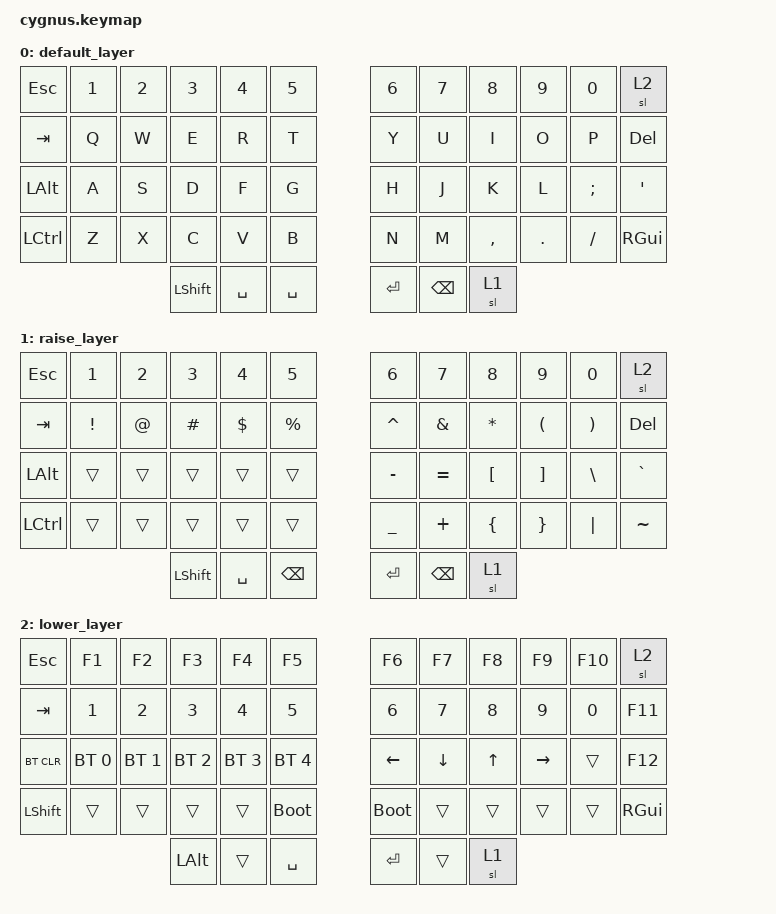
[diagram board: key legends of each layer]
#include <behaviors.dtsi>
#include <dt-bindings/zmk/bt.h>
#include <dt-bindings/zmk/keys.h>

/ {
    keymap {
        compatible = "zmk,keymap";

        default_layer {
            // -----------------------------------------------------------------------------------------
            // |  ESC |  1  |  2  |  3  |  4  |  5  |   |  6  |  7   |  8  |  9  |  0  |  ?   |
            // |  TAB |  Q  |  W  |  E  |  R  |  T  |   |  Y  |  U   |  I  |  O  |  P  | BKSP |
            // | CTRL |  A  |  S  |  D  |  F  |  G  |   |  H  |  J   |  K  |  L  |  ;  |  '   |
            // | SHFT |  Z  |  X  |  C  |  V  |  B  |   |  N  |  M   |  ,  |  .  |  /  | ESC  |
            //                    | GUI | LWR | SPC |   | ENT | RSE  | ALT |

            bindings = <
&kp ESC       &kp N1  &kp N2  &kp N3          &kp N4     &kp N5       &kp N6   &kp N7         &kp N8     &kp N9   &kp N0    &sl 2
&kp TAB       &kp Q   &kp W   &kp E           &kp R      &kp T        &kp Y    &kp U          &kp I      &kp O    &kp P     &kp DELETE
&kp LEFT_ALT  &kp A   &kp S   &kp D           &kp F      &kp G        &kp H    &kp J          &kp K      &kp L    &kp SEMI  &kp SQT
&kp LCTRL     &kp Z   &kp X   &kp C           &kp V      &kp B        &kp N    &kp M          &kp COMMA  &kp DOT  &kp FSLH  &kp RGUI
                              &kp LEFT_SHIFT  &kp SPACE  &kp SPACE    &kp RET  &kp BACKSPACE  &sl 1
            >;
        };

        raise_layer {
            // -----------------------------------------------------------------------------------------
            // |  TAB |  !  |  @  |  #  |  $  |  %  |   |  ^  |  &  |  *  |  (  |  )  | BKSP |
            // | CTRL |     |     |     |     |     |   |  -  |  =  |  [  |  ]  |  \  |  `   |
            // | SHFT |     |     |     |     |     |   |  _  |  +  |  {  |  }  | "|" |  ~   |
            //                    | GUI |     | SPC |   | ENT |     | ALT |

            bindings = <
&kp ESC           &kp N1    &kp N2  &kp N3          &kp N4     &kp N5           &kp N6     &kp N7         &kp N8     &kp N9    &kp N0    &sl 2
&kp TAB           &kp EXCL  &kp AT  &kp HASH        &kp DLLR   &kp PRCNT        &kp CARET  &kp AMPS       &kp ASTRK  &kp LPAR  &kp RPAR  &kp DELETE
&kp LEFT_ALT      &trans    &trans  &trans          &trans     &trans           &kp MINUS  &kp EQUAL      &kp LBKT   &kp RBKT  &kp BSLH  &kp GRAVE
&kp LEFT_CONTROL  &trans    &trans  &trans          &trans     &trans           &kp UNDER  &kp PLUS       &kp LBRC   &kp RBRC  &kp PIPE  &kp TILDE
                                    &kp LEFT_SHIFT  &kp SPACE  &kp BACKSPACE    &kp RET    &kp BACKSPACE  &sl 1
            >;
        };

        lower_layer {
            // -----------------------------------------------------------------------------------------
            // |  TAB |  F1 |  F2 |  F3 |  F4 |  F5 |   |  F6 |  F7 |  F8 |  F9 | F10 | BKSP |
            // |  TAB |  1  |  2  |  3  |  4  |  5  |   |  6  |  7  |  8  |  9  |  0  | BKSP |
            // | BTCLR| BT1 | BT2 | BT3 | BT4 | BT5 |   | LFT | DWN |  UP | RGT |     |      |
            // | SHFT |     |     |     |     |     |   |     |     |     |     |     |      |
            //                    | GUI |     | SPC |   | ENT |     | ALT |

            bindings = <
&kp ESC     &kp F1        &kp F2        &kp F3        &kp F4        &kp F5          &kp F6       &kp F7    &kp F8  &kp F9     &kp F10  &sl 2
&kp TAB     &kp N1        &kp N2        &kp N3        &kp N4        &kp N5          &kp N6       &kp N7    &kp N8  &kp N9     &kp N0   &kp F11
&bt BT_CLR  &bt BT_SEL 0  &bt BT_SEL 1  &bt BT_SEL 2  &bt BT_SEL 3  &bt BT_SEL 4    &kp LEFT     &kp DOWN  &kp UP  &kp RIGHT  &trans   &kp F12
&kp LSHFT   &trans        &trans        &trans        &trans        &bootloader     &bootloader  &trans    &trans  &trans     &trans   &kp RGUI
                                        &kp LEFT_ALT  &trans        &kp SPACE       &kp RET      &trans    &sl 1
            >;
        };
    };
};
